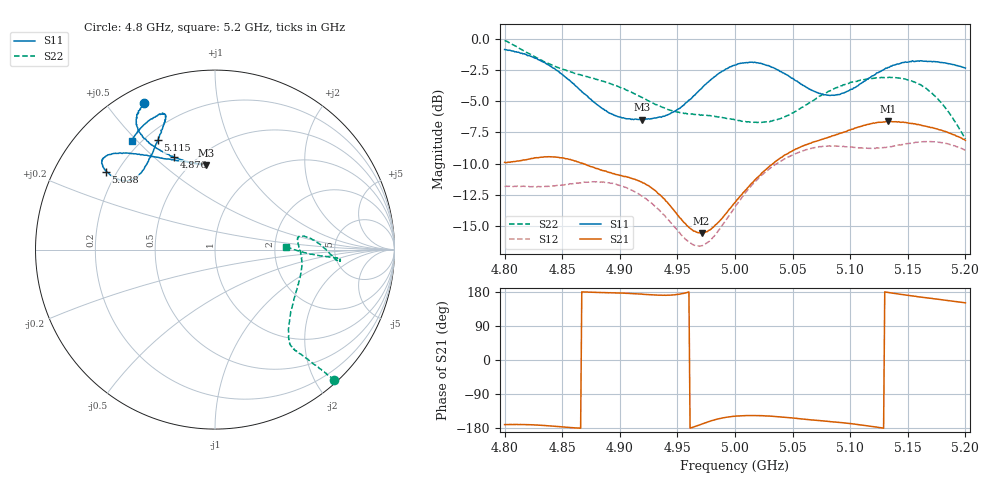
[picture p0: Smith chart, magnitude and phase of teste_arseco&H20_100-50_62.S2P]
! Network Analyzer HP8722D
! Hewlett-Packard
! Data name: Linha & Wilkinson
! Saver's name: Rodrigo Anjos
! Comments: Teste da utilização de aquisição
! continua pelo VNA HP8722D
! Time and date: 6/5/2025 13:05
!  Frequency  S11  S21  S12  S22
# HZ  S  MA R 50
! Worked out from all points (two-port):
!   401 points, 4.8 GHz to 5.2 GHz, reference 50 ohm
!   highest |S21| = -6.62 dB at 5.133 GHz (marker M1); lowest = -15.5 dB at 4.971 GHz (marker M2)
!   |S21| within 3 dB of the highest: 4.822 GHz to 4.854 GHz (32.2 MHz wide, 0.665 % of centre); 5.038 GHz to end of sweep
!   lowest |S11| = -6.5 dB at 4.919 GHz (marker M3), VSWR 2.80, Z = 29.2 + j35.5 ohm
!   |S11| at or under -10 dB: nowhere
!   |S22| runs from -8.0 to -0.1 dB; largest |S21 - S12| = 0.83
!   S11 on the Smith chart (normalised r, x): 4.8 GHz: 0.07, +0.63; 4.876 GHz: 0.38, +0.58; 5.038 GHz: 0.16, +0.31; 5.115 GHz: 0.25, +0.58; 5.2 GHz: 0.17, +0.48
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4.8e9  0.9045 115.8  0.32 -170.5  0.2567 -86.0  0.9834 -47.5
4.819e9  0.8628 120.4  0.3285 -170.4  0.256 -81.7  0.881 -48.8
4.837e9  0.7887 122.7  0.3369 -173.6  0.2564 -75.9  0.7995 -49.7
4.867e9  0.6133 117.9  0.3177 179.8  0.2653 -67.3  0.7142 -51.5
4.876e9  0.5644 114.0  0.3071 178.7  0.2672 -66.3  0.6959 -51.9
4.901e9  0.4848 100.7  0.2836 176.7  0.2576 -66.7  0.6362 -49.9
4.919e9  0.4744 96.2  0.267 173.9  0.2347 -68.6  0.5829 -44.8
4.934e9  0.4851 99.0  0.2391 171.0  0.207 -69.3  0.5388 -37.4
4.959e9  0.5615 116.3  0.1778 178.5  0.1551 -58.7  0.5001 -20.9
4.971e9  0.6327 124.7  0.1671 -169.4  0.1485 -45.1  0.4952 -13.8
4.982e9  0.7031 130.5  0.1776 -158.3  0.1622 -33.1  0.4896 -8.1
5e9  0.7846 137.2  0.2211 -148.4  0.213 -21.4  0.4732 -0.3
5.018e9  0.8026 141.7  0.2741 -146.5  0.2694 -18.3  0.4633 5.8
5.038e9  0.7469 144.4  0.3295 -149.7  0.3205 -18.4  0.4771 8.9
5.067e9  0.6205 141.8  0.3848 -158.1  0.3653 -20.5  0.5627 4.6
5.09e9  0.5972 132.0  0.4163 -164.4  0.371 -23.9  0.6409 -2.1
5.115e9  0.6894 117.6  0.4539 -173.6  0.3645 -26.7  0.6897 -5.4
5.133e9  0.7675 111.4  0.4669 178.2  0.3684 -28.4  0.6989 -4.8
5.134e9  0.768 111.1  0.4648 177.8  0.369 -28.7  0.7013 -4.8
5.161e9  0.8159 112.4  0.4518 166.1  0.3867 -35.0  0.6546 -3.7
5.18e9  0.8019 118.9  0.429 158.9  0.3837 -40.9  0.5484 -2.9
5.2e9  0.7626 127.4  0.3917 150.8  0.3582 -46.3  0.3966 2.5
